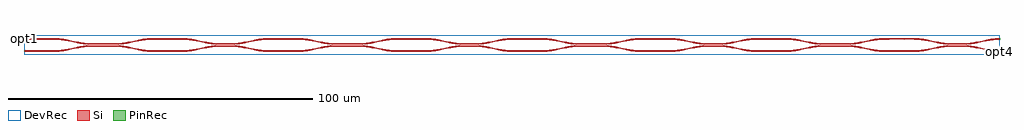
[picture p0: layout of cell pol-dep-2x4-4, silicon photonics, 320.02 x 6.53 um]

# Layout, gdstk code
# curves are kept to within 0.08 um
import gdstk
lib = gdstk.Library(unit=1e-6, precision=1e-09)
def R(c, l, rs):  # rectangles x0, y0, x1, y1
    for r in rs: c.add(gdstk.rectangle(r[:2], r[2:], *l))
def P(c, l, *ps):  # polygons
    for p in ps: c.add(gdstk.Polygon(p, *l))
Si = (1, 0)
PinRec = (1, 10)
DevRec = (68, 0)

layer_3_0_phase_sec_2_8 = lib.new_cell('layer-3_0_phase_sec_2$8')
P(layer_3_0_phase_sec_2_8, Si, [(0,-0.225),(0,0.225),(10,0.225),(10,-0.225)])

layer_3_0_phase_sec_1_8 = lib.new_cell('layer-3_0_phase_sec_1$8')
P(layer_3_0_phase_sec_1_8, Si, [(0,-0.225),(0,0.225),(10,0.225),(10,-0.225)])

layer_3_0_phase_sec_0_8 = lib.new_cell('layer-3_0_phase_sec_0$8')
P(layer_3_0_phase_sec_0_8, Si, [(1.618,-0.252),(0,-0.225),(0,0.225),(10,0.225),(10,-0.225)])

layer_2_0_phase_sec_3_8 = lib.new_cell('layer-2_0_phase_sec_3$8')
P(layer_2_0_phase_sec_3_8, Si, [(1.622,-0.255),(0,-0.225),(0,0.225),(10,0.225),(10,-0.225)])

layer_2_0_phase_sec_2_8 = lib.new_cell('layer-2_0_phase_sec_2$8')
P(layer_2_0_phase_sec_2_8, Si, [(0,-0.225),(0,0.225),(10,0.225),(10,-0.225)])

layer_2_0_phase_sec_1_8 = lib.new_cell('layer-2_0_phase_sec_1$8')
P(layer_2_0_phase_sec_1_8, Si, [(0,-0.225),(0,0.225),(10,0.225),(10,-0.225)])

layer_1_0_phase_sec_1_8 = lib.new_cell('layer-1_0_phase_sec_1$8')
P(layer_1_0_phase_sec_1_8, Si, [(6.467,-0.228),(0,-0.225),(0,0.225),(10,0.225),(10,-0.225)])

layer_1_0_phase_sec_0_8 = lib.new_cell('layer-1_0_phase_sec_0$8')
P(layer_1_0_phase_sec_0_8, Si, [(8.048,-0.241),(0,-0.225),(0,0.225),(10,0.225),(10,-0.225)])

dc_arm_down_4_8 = lib.new_cell('dc_arm_down_4$8')
R(dc_arm_down_4_8, Si, [(12,-0.55,16,-0.1)])
P(dc_arm_down_4_8, Si, [(28,-2.225),(26.861,-2.188),(25.344,-2.033),(18.966,-0.793),(17.481,-0.613),(16,-0.55),(16,-0.1),(17.139,-0.137),(18.656,-0.292),(25.034,-1.532),(26.519,-1.712),(28,-1.775)],
  [(0,-2.225),(0,-1.775),(1.481,-1.712),(2.966,-1.532),(9.344,-0.292),(10.861,-0.137),(12,-0.1),(12,-0.55),(10.519,-0.613),(9.034,-0.793),(2.656,-2.033),(1.139,-2.188)])

dc_arm_up_4_8 = lib.new_cell('dc_arm_up_4$8')
R(dc_arm_up_4_8, Si, [(12,0.1,16,0.55)])
P(dc_arm_up_4_8, Si, [(16,0.1),(16,0.55),(17.481,0.613),(18.966,0.793),(25.344,2.033),(26.861,2.188),(28,2.225),(28,1.775),(26.519,1.712),(25.034,1.532),(18.656,0.292),(17.139,0.137)],
  [(12,0.1),(10.861,0.137),(9.344,0.292),(2.966,1.532),(1.481,1.712),(0,1.775),(0,2.225),(1.139,2.188),(2.656,2.033),(9.034,0.793),(10.519,0.613),(12,0.55)])

dc_4_8 = lib.new_cell('dc_4$8')
dc_4_8.add(gdstk.Reference(dc_arm_down_4_8, (0,0)))
dc_4_8.add(gdstk.Reference(dc_arm_up_4_8, (0,0)))

layer_0_0_phase_sec_3_8 = lib.new_cell('layer-0_0_phase_sec_3$8')
P(layer_0_0_phase_sec_3_8, Si, [(0,-0.225),(0,0.225),(10,0.225),(10,-0.225)])

layer_3_0_phase_sec_3_8 = lib.new_cell('layer-3_0_phase_sec_3$8')
P(layer_3_0_phase_sec_3_8, Si, [(3.218,-0.239),(0,-0.225),(0,0.225),(10,0.225),(10,-0.225)])

layer_0_0_phase_sec_2_8 = lib.new_cell('layer-0_0_phase_sec_2$8')
P(layer_0_0_phase_sec_2_8, Si, [(3.249,-0.264),(0,-0.225),(0,0.225),(10,0.225),(10,-0.225)])

layer_2_0_phase_sec_0_8 = lib.new_cell('layer-2_0_phase_sec_0$8')
P(layer_2_0_phase_sec_0_8, Si, [(8.107,-0.242),(0,-0.225),(0,0.225),(10,0.225),(10,-0.225)])

dc_arm_down_8_8 = lib.new_cell('dc_arm_down_8$8')
R(dc_arm_down_8_8, Si, [(12,-0.55,20,-0.1)])
P(dc_arm_down_8_8, Si, [(32,-2.225),(30.861,-2.188),(29.344,-2.033),(22.966,-0.793),(21.481,-0.613),(20,-0.55),(20,-0.1),(21.139,-0.137),(22.656,-0.292),(29.034,-1.532),(30.519,-1.712),(32,-1.775)],
  [(0,-2.225),(0,-1.775),(1.481,-1.712),(2.966,-1.532),(9.344,-0.292),(10.861,-0.137),(12,-0.1),(12,-0.55),(10.519,-0.613),(9.034,-0.793),(2.656,-2.033),(1.139,-2.188)])

dc_arm_up_8_8 = lib.new_cell('dc_arm_up_8$8')
R(dc_arm_up_8_8, Si, [(12,0.1,20,0.55)])
P(dc_arm_up_8_8, Si, [(20,0.1),(20,0.55),(21.481,0.613),(22.966,0.793),(29.344,2.033),(30.861,2.188),(32,2.225),(32,1.775),(30.519,1.712),(29.034,1.532),(22.656,0.292),(21.139,0.137)],
  [(12,0.1),(10.861,0.137),(9.344,0.292),(2.966,1.532),(1.481,1.712),(0,1.775),(0,2.225),(1.139,2.188),(2.656,2.033),(9.034,0.793),(10.519,0.613),(12,0.55)])

dc_8_8 = lib.new_cell('dc_8$8')
dc_8_8.add(gdstk.Reference(dc_arm_down_8_8, (0,0)))
dc_8_8.add(gdstk.Reference(dc_arm_up_8_8, (0,0)))

layer_1_0_phase_sec_3_8 = lib.new_cell('layer-1_0_phase_sec_3$8')
P(layer_1_0_phase_sec_3_8, Si, [(4.854,-0.27),(0,-0.225),(0,0.225),(10,0.225),(10,-0.225)])

layer_0_0_phase_sec_1_8 = lib.new_cell('layer-0_0_phase_sec_1$8')
P(layer_0_0_phase_sec_1_8, Si, [(3.224,-0.23),(0,-0.225),(0,0.225),(10,0.225),(10,-0.225)])

layer_1_0_phase_sec_2_8 = lib.new_cell('layer-1_0_phase_sec_2$8')
P(layer_1_0_phase_sec_2_8, Si, [(0,-0.225),(0,0.225),(10,0.225),(10,-0.225)])

layer_0_0_phase_sec_0_8 = lib.new_cell('layer-0_0_phase_sec_0$8')
P(layer_0_0_phase_sec_0_8, Si, [(3.232,-0.263),(0,-0.225),(0,0.225),(10,0.225),(10,-0.225)])

pol_dep_2x4_4 = lib.new_cell('pol-dep-2x4-4')
R(pol_dep_2x4_4, DevRec, [(0,-1,320,5.534)])
pol_dep_2x4_4.add(gdstk.FlexPath([(319.99,0.27),(320.01,0.27)], 0.45, ends="flush", simple_path=True, layer=1, datatype=10))  # PinRec
pol_dep_2x4_4.add(gdstk.FlexPath([(319.99,4.27),(320.01,4.27)], 0.45, ends="flush", simple_path=True, layer=1, datatype=10))  # PinRec
pol_dep_2x4_4.add(gdstk.FlexPath([(0.01,0.27),(-0.01,0.27)], 0.45, ends="flush", simple_path=True, layer=1, datatype=10))  # PinRec
pol_dep_2x4_4.add(gdstk.FlexPath([(0.01,4.27),(-0.01,4.27)], 0.45, ends="flush", simple_path=True, layer=1, datatype=10))  # PinRec
pol_dep_2x4_4.add(gdstk.Reference(layer_3_0_phase_sec_2_8, (282,4.27)))
pol_dep_2x4_4.add(gdstk.Reference(layer_3_0_phase_sec_1_8, (240,0.27)))
pol_dep_2x4_4.add(gdstk.Reference(layer_3_0_phase_sec_0_8, (240,4.27)))
pol_dep_2x4_4.add(gdstk.Reference(layer_2_0_phase_sec_3_8, (202,0.27)))
pol_dep_2x4_4.add(gdstk.Reference(layer_2_0_phase_sec_2_8, (202,4.27)))
pol_dep_2x4_4.add(gdstk.Reference(layer_2_0_phase_sec_1_8, (160,0.27)))
pol_dep_2x4_4.add(gdstk.Reference(layer_1_0_phase_sec_1_8, (80,0.27)))
pol_dep_2x4_4.add(gdstk.Reference(layer_1_0_phase_sec_0_8, (80,4.27)))
pol_dep_2x4_4.add(gdstk.Reference(dc_4_8, (52,2.27)))
pol_dep_2x4_4.add(gdstk.Reference(dc_4_8, (132,2.27)))
pol_dep_2x4_4.add(gdstk.Reference(dc_4_8, (212,2.27)))
pol_dep_2x4_4.add(gdstk.Reference(dc_4_8, (292,2.27)))
pol_dep_2x4_4.add(gdstk.Reference(layer_0_0_phase_sec_3_8, (42,0.27)))
pol_dep_2x4_4.add(gdstk.Reference(layer_3_0_phase_sec_3_8, (282,0.27)))
pol_dep_2x4_4.add(gdstk.Reference(layer_0_0_phase_sec_2_8, (42,4.27)))
pol_dep_2x4_4.add(gdstk.Reference(layer_2_0_phase_sec_0_8, (160,4.27)))
pol_dep_2x4_4.add(gdstk.Reference(dc_8_8, (10,2.27)))
pol_dep_2x4_4.add(gdstk.Reference(dc_8_8, (90,2.27)))
pol_dep_2x4_4.add(gdstk.Reference(dc_8_8, (170,2.27)))
pol_dep_2x4_4.add(gdstk.Reference(dc_8_8, (250,2.27)))
pol_dep_2x4_4.add(gdstk.Reference(layer_1_0_phase_sec_3_8, (122,0.27)))
pol_dep_2x4_4.add(gdstk.Reference(layer_0_0_phase_sec_1_8, (0,0.27)))
pol_dep_2x4_4.add(gdstk.Reference(layer_1_0_phase_sec_2_8, (122,4.27)))
pol_dep_2x4_4.add(gdstk.Reference(layer_0_0_phase_sec_0_8, (0,4.27)))
pol_dep_2x4_4.add(gdstk.Label('opt4', (320,0.27), layer=1, texttype=10))
pol_dep_2x4_4.add(gdstk.Label('opt3', (320,4.27), layer=1, texttype=10))
pol_dep_2x4_4.add(gdstk.Label('opt1', (0,4.27), layer=1, texttype=10))
pol_dep_2x4_4.add(gdstk.Label('opt2', (0,0.27), layer=1, texttype=10))

lib.write_gds('pol-dep-2x4-4.gds')
